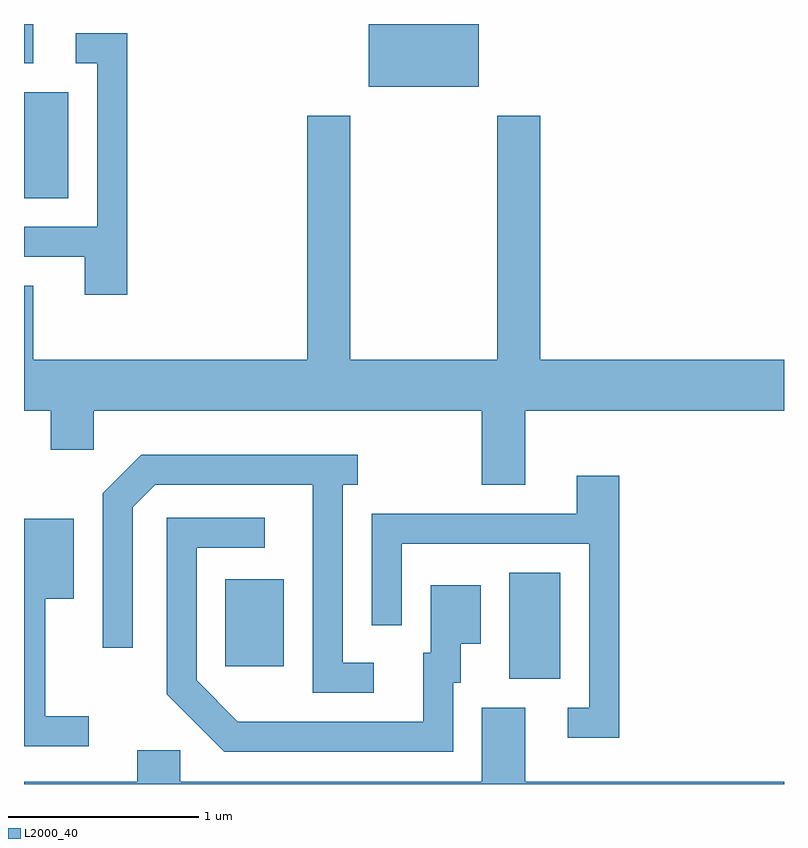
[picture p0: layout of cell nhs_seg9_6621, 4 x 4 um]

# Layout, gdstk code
import gdstk
lib = gdstk.Library(unit=1e-6, precision=1e-09)
def R(c, l, rs):  # rectangles x0, y0, x1, y1
    for r in rs: c.add(gdstk.rectangle(r[:2], r[2:], *l))
def P(c, l, *ps):  # polygons
    for p in ps: c.add(gdstk.Polygon(p, *l))
L2000_40 = (2000, 40)

nhs_seg9_6621 = lib.new_cell('nhs_seg9_6621')
R(nhs_seg9_6621, L2000_40, [(382.166,2076.986,382.434,2077.544), (380.671,2077.051,380.979,2077.509), (379.611,2079.516,379.844,2080.074), (381.426,2080.101,382.004,2080.432), (379.611,2080.226,379.659,2080.432)])
P(nhs_seg9_6621, L2000_40, [(380.154,2080.384),(379.883,2080.384),(379.883,2080.226),(379.996,2080.226),(379.996,2079.364),(379.611,2079.364),(379.611,2079.206),(379.931,2079.206),(379.931,2079.006),(380.154,2079.006)],
  [(382.249,2078.396),(383.611,2078.396),(383.611,2078.664),(382.329,2078.664),(382.329,2079.949),(382.101,2079.949),(382.101,2078.664),(381.329,2078.664),(381.329,2079.949),(381.101,2079.949),(381.101,2078.664),(379.659,2078.664),(379.659,2079.054),(379.611,2079.054),(379.611,2078.396),(379.751,2078.396),(379.751,2078.191),(379.979,2078.191),(379.979,2078.396),(382.021,2078.396),(382.021,2078.006),(382.249,2078.006)],
  [(381.453,2077.069),(381.289,2077.069),(381.289,2078.006),(381.368,2078.006),(381.368,2078.164),(380.229,2078.164),(380.026,2077.962),(380.026,2077.148),(380.184,2077.148),(380.184,2077.889),(380.302,2078.006),(381.131,2078.006),(381.131,2076.911),(381.453,2076.911)],
  [(382.744,2078.054),(382.521,2078.054),(382.521,2077.854),(381.441,2077.854),(381.441,2077.268),(381.599,2077.268),(381.599,2077.696),(382.586,2077.696),(382.586,2076.834),(382.473,2076.834),(382.473,2076.676),(382.744,2076.676)],
  [(381.869,2076.966),(381.909,2076.966),(381.909,2077.171),(382.014,2077.171),(382.014,2077.479),(381.751,2077.479),(381.751,2077.124),(381.711,2077.124),(381.711,2076.759),(380.737,2076.759),(380.519,2076.977),(380.519,2077.676),(380.878,2077.676),(380.878,2077.834),(380.361,2077.834),(380.361,2076.904),(380.664,2076.601),(381.869,2076.601)],
  [(379.953,2076.789),(379.724,2076.789),(379.724,2077.406),(379.874,2077.406),(379.874,2077.829),(379.611,2077.829),(379.611,2076.631),(379.953,2076.631)],
  [(383.611,2076.444),(382.249,2076.444),(382.249,2076.834),(382.021,2076.834),(382.021,2076.444),(380.434,2076.444),(380.434,2076.609),(380.206,2076.609),(380.206,2076.444),(379.611,2076.444),(379.611,2076.432),(383.611,2076.432)])

lib.write_gds('nhs_seg9_6621.gds')
